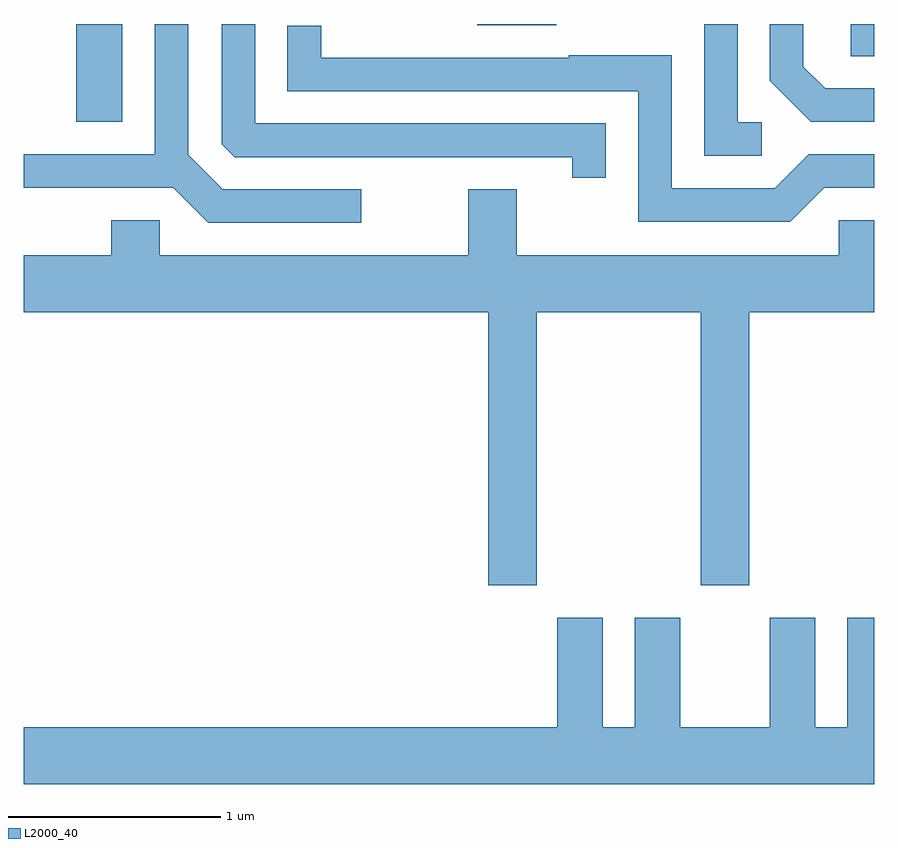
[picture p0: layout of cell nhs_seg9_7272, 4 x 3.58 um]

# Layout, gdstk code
import gdstk
lib = gdstk.Library(unit=1e-6, precision=1e-09)
def R(c, l, rs):  # rectangles x0, y0, x1, y1
    for r in rs: c.add(gdstk.rectangle(r[:2], r[2:], *l))
def P(c, l, *ps):  # polygons
    for p in ps: c.add(gdstk.Polygon(p, *l))
L2000_40 = (2000, 40)

nhs_seg9_7272 = lib.new_cell('nhs_seg9_7272')
R(nhs_seg9_7272, L2000_40, [(399.856,2065.971,400.074,2066.432), (403.501,2066.281,403.611,2066.432), (401.743,2066.426,402.115,2066.432)])
P(nhs_seg9_7272, L2000_40, [(401.198,2065.654),(400.547,2065.654),(400.384,2065.817),(400.384,2066.432),(400.226,2066.432),(400.226,2065.819),(399.611,2065.819),(399.611,2065.661),(400.314,2065.661),(400.479,2065.496),(401.198,2065.496)],
  [(403.611,2066.129),(403.382,2066.129),(403.279,2066.231),(403.279,2066.432),(403.121,2066.432),(403.121,2066.164),(403.314,2065.971),(403.611,2065.971)],
  [(403.083,2065.969),(402.969,2065.969),(402.969,2066.432),(402.811,2066.432),(402.811,2065.811),(403.083,2065.811)],
  [(402.349,2065.964),(400.699,2065.964),(400.699,2066.432),(400.541,2066.432),(400.541,2065.867),(400.602,2065.806),(402.191,2065.806),(402.191,2065.708),(402.349,2065.708)],
  [(403.377,2065.661),(403.611,2065.661),(403.611,2065.819),(403.304,2065.819),(403.144,2065.659),(402.659,2065.659),(402.659,2066.284),(402.175,2066.284),(402.175,2066.274),(401.009,2066.274),(401.009,2066.423),(400.851,2066.423),(400.851,2066.116),(402.501,2066.116),(402.501,2065.501),(403.217,2065.501)],
  [(402.024,2065.076),(402.796,2065.076),(402.796,2063.791),(403.024,2063.791),(403.024,2065.076),(403.611,2065.076),(403.611,2065.509),(403.446,2065.509),(403.446,2065.344),(401.929,2065.344),(401.929,2065.654),(401.701,2065.654),(401.701,2065.344),(400.249,2065.344),(400.249,2065.509),(400.021,2065.509),(400.021,2065.344),(399.611,2065.344),(399.611,2065.076),(401.796,2065.076),(401.796,2063.791),(402.024,2063.791)],
  [(403.611,2063.639),(403.486,2063.639),(403.486,2063.124),(403.334,2063.124),(403.334,2063.639),(403.121,2063.639),(403.121,2063.124),(402.699,2063.124),(402.699,2063.639),(402.486,2063.639),(402.486,2063.124),(402.334,2063.124),(402.334,2063.639),(402.121,2063.639),(402.121,2063.124),(399.611,2063.124),(399.611,2062.856),(403.611,2062.856)])

lib.write_gds('nhs_seg9_7272.gds')
